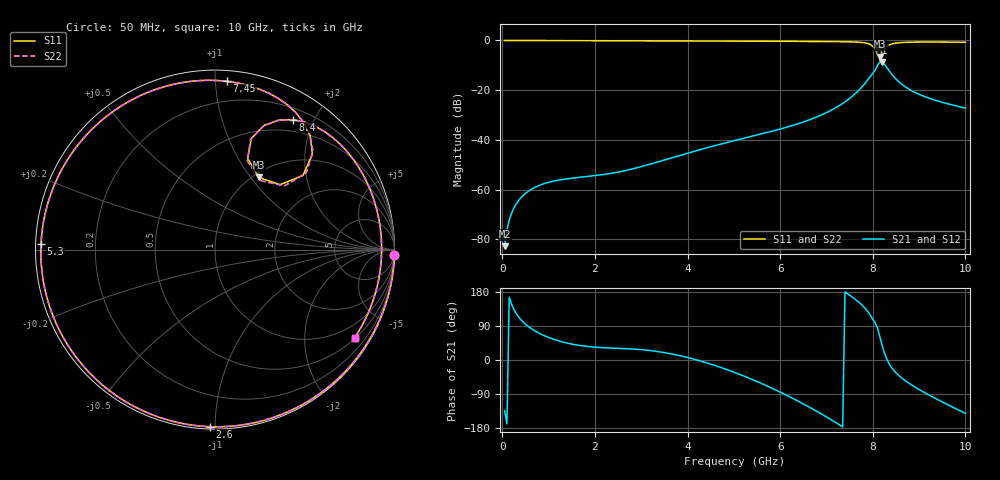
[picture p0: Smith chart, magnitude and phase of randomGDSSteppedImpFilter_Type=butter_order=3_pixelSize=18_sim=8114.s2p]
! freq	dB(S11)	phase(S11)	dB(S12)	phase(S12)
!  dB(S21)	phase(S21)	dB(S22)	phase(S22)
!S-par simulation data
#  GHz  S  DB  R 50
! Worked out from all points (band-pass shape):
!   200 points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, 50 MHz to 10 GHz, reference 50 ohm
!   highest |S21| = -8.65 dB at 8.2 GHz (marker M1); lowest = -82.7 dB at 50 MHz (marker M2)
!   |S21| within 3 dB of the highest: 8.059 GHz to 8.333 GHz (273 MHz wide, 3.33 % of centre)
!   lowest |S11| = -6.5 dB at 8.15 GHz (marker M3), VSWR 2.78, Z = 53.2 + j54.9 ohm
!   |S11| at or under -10 dB: nowhere
!   |S22| runs from -6.7 to 0.0 dB; largest |S21 - S12| = 0
!   S11 on the Smith chart (normalised r, x): 50 MHz: 0, -62; 2.6 GHz: 0.01, -0.97; 5.3 GHz: 0.02, +0.02; 7.45 GHz: 0.07, +1.07; 8.4 GHz: 0.34, +1.72; 10 GHz: 0.53, -3.39
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0.05  -0.00 -1.8  -82.73 -133.7  -82.73 -133.7  -0.00 -1.8
0.25  -0.00 -9.2  -67.39 133.7  -67.39 133.7  -0.00 -9.2
0.5  -0.02 -18.4  -61.52 94.5  -61.52 94.5  -0.02 -18.4
0.95  -0.04 -34.7  -57.32 62.0  -57.32 62.0  -0.04 -34.6
1.75  -0.08 -62.9  -54.89 37.0  -54.89 37.0  -0.08 -62.8
2.6  -0.11 -91.7  -52.56 30.3  -52.56 30.3  -0.11 -91.7
3.4  -0.15 -118.1  -48.62 21.5  -48.62 21.5  -0.15 -118.1
4.25  -0.20 -146.0  -44.01 -1.6  -44.01 -1.6  -0.20 -146.0
5.05  -0.25 -173.1  -40.10 -34.4  -40.10 -34.4  -0.25 -173.1
5.3  -0.27 178.1  -38.95 -46.5  -38.95 -46.5  -0.27 178.1
6  -0.33 151.9  -35.63 -84.6  -35.63 -84.6  -0.33 151.9
6.7  -0.40 122.7  -31.44 -129.2  -31.44 -129.2  -0.40 122.7
7.45  -0.54 85.9  -24.03 175.3  -24.03 175.3  -0.54 86.0
7.95  -1.66 50.1  -14.38 117.7  -14.38 117.7  -1.59 50.6
8.05  -3.86 40.1  -12.01 97.8  -12.01 97.8  -3.55 40.0
8.15  -6.55 58.7  -8.70 63.0  -8.70 63.0  -6.73 56.5
8.2  -5.37 70.3  -8.65 39.2  -8.65 39.2  -5.59 69.9
8.35  -1.87 63.7  -12.11 -9.2  -12.11 -9.2  -1.91 63.9
8.4  -1.47 59.0  -13.36 -18.9  -13.36 -18.9  -1.49 59.2
8.7  -0.76 36.9  -18.62 -54.4  -18.62 -54.4  -0.76 36.9
9.1  -0.64 13.5  -22.43 -84.8  -22.43 -84.8  -0.65 13.5
10  -0.72 -32.2  -27.20 -140.9  -27.20 -140.9  -0.72 -32.2
